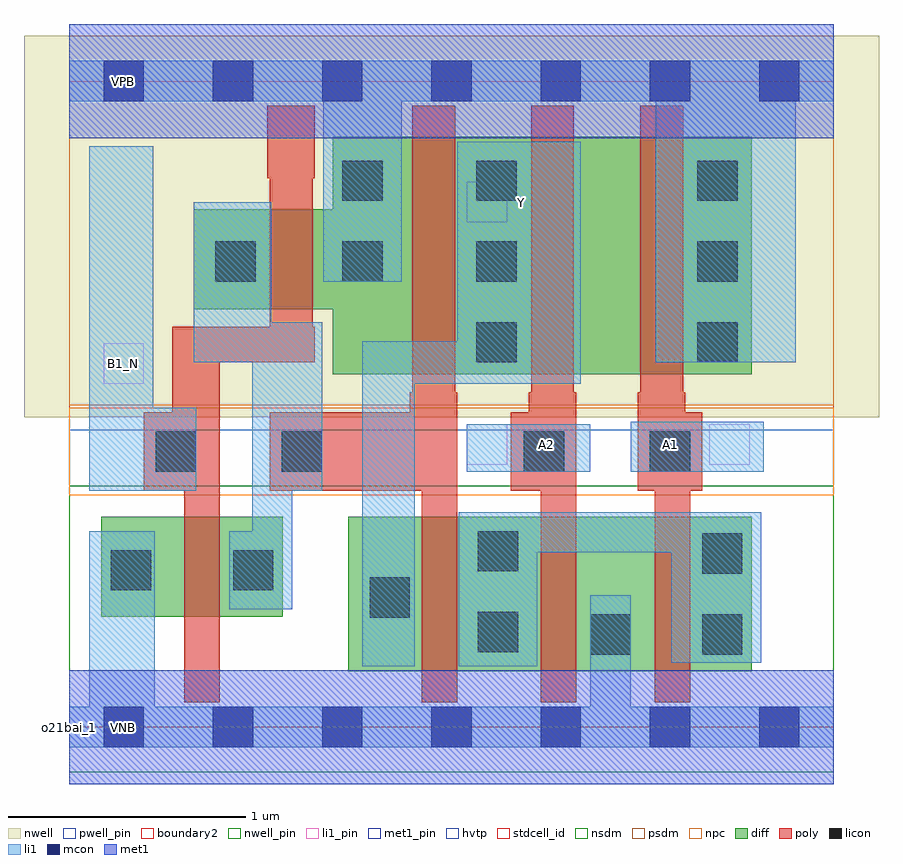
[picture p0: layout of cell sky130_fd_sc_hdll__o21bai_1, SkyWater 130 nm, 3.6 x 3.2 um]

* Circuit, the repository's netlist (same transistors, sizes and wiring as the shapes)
* Copyright 2020 The SkyWater PDK Authors
*
* Licensed under the Apache License, Version 2.0 (the "License");
* you may not use this file except in compliance with the License.
* You may obtain a copy of the License at
*
*     https://www.apache.org/licenses/LICENSE-2.0
*
* Unless required by applicable law or agreed to in writing, software
* distributed under the License is distributed on an "AS IS" BASIS,
* WITHOUT WARRANTIES OR CONDITIONS OF ANY KIND, either express or implied.
* See the License for the specific language governing permissions and
* limitations under the License.
*
* SPDX-License-Identifier: Apache-2.0

.SUBCKT sky130_fd_sc_hdll__o21bai_1 A1 A2 B1_N VGND VNB VPB VPWR Y
*.PININFO A1:I A2:I B1_N:I VGND:I VNB:I VPB:I VPWR:I Y:O
MMPA0 VPWR A1 sndA1 VPB sky130_fd_pr__pfet_01v8_hvt m=1 w=1.0U l=0.18U mult=1 sa=0.265
+ sb=0.265 sd=0.28 area=0.063 perim=1.14
MMPA1 sndA1 A2 Y VPB sky130_fd_pr__pfet_01v8_hvt m=1 w=1.0U l=0.18U mult=1 sa=0.265
+ sb=0.265 sd=0.28 area=0.063 perim=1.14
MMPB0 VPWR B1 Y VPB sky130_fd_pr__pfet_01v8_hvt m=1 w=1.0U l=0.18U mult=1 sa=0.265
+ sb=0.265 sd=0.28 area=0.063 perim=1.14
MMIPB1N B1 B1_N VPWR VPB sky130_fd_pr__pfet_01v8_hvt m=1 w=0.42U l=0.18U mult=1
+ sa=0.265 sb=0.265 sd=0.28 area=0.063 perim=1.14
MMNA0 pndA A1 VGND VNB sky130_fd_pr__nfet_01v8 m=1 w=0.65U l=0.15U mult=1 sa=0.265
+ sb=0.265 sd=0.28 area=0.063 perim=1.14
MMNA1 pndA A2 VGND VNB sky130_fd_pr__nfet_01v8 m=1 w=0.65U l=0.15U mult=1 sa=0.265
+ sb=0.265 sd=0.28 area=0.063 perim=1.14
MMNB0 Y B1 pndA VNB sky130_fd_pr__nfet_01v8 m=1 w=0.65U l=0.15U mult=1 sa=0.265
+ sb=0.265 sd=0.28 area=0.063 perim=1.14
MMINB1N B1 B1_N VGND VNB sky130_fd_pr__nfet_01v8 m=1 w=0.42U l=0.15U mult=1 sa=0.265
+ sb=0.265 sd=0.28 area=0.063 perim=1.14
.ENDS sky130_fd_sc_hdll__o21bai_1

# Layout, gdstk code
import gdstk
lib = gdstk.Library(unit=1e-6, precision=1e-09)
def R(c, l, rs):  # rectangles x0, y0, x1, y1
    for r in rs: c.add(gdstk.rectangle(r[:2], r[2:], *l))
def A(c, l, x, y, w, h, nx, ny, dx, dy):  # array of equal rectangles
    R(c, l, [(x+i*dx, y+j*dy, x+i*dx+w, y+j*dy+h) for i in range(nx) for j in range(ny)])
def P(c, l, *ps):  # polygons
    for p in ps: c.add(gdstk.Polygon(p, *l))
nwell_pin = (64, 16)
nwell = (64, 20)
diff = (65, 20)
poly = (66, 20)
licon = (66, 44)
li1_pin = (67, 16)
li1 = (67, 20)
mcon = (67, 44)
met1_pin = (68, 16)
met1 = (68, 20)
hvtp = (78, 44)
stdcell_id = (81, 4)
nsdm = (93, 44)
psdm = (94, 20)
npc = (95, 20)
pwell_pin = (122, 16)
boundary2 = (236, 0)

sky130_fd_sc_hdll__o21ba = lib.new_cell('sky130_fd_sc_hdll__o21bai_1')
R(sky130_fd_sc_hdll__o21ba, nwell_pin, [(0.145,2.635,0.315,2.805)])
R(sky130_fd_sc_hdll__o21ba, nwell, [(-0.19,1.305,3.41,2.91)])
R(sky130_fd_sc_hdll__o21ba, diff, [(1.175,0.235,2.875,0.885), (0.135,0.465,0.9,0.885)])
P(sky130_fd_sc_hdll__o21ba, diff, [(2.875,2.485),(1.11,2.485),(1.11,2.18),(0.525,2.18),(0.525,1.76),(1.11,1.76),(1.11,1.485),(2.875,1.485)])
P(sky130_fd_sc_hdll__o21ba, poly, [(1.035,2.615),(0.835,2.615),(0.835,2.31),(0.845,2.31),(0.845,1.685),(0.435,1.685),(0.435,1.325),(0.315,1.325),(0.315,0.995),(0.485,0.995),(0.485,0.105),(0.635,0.105),(0.635,1.535),(1.035,1.535),(1.035,1.685),(1.025,1.685),(1.025,2.31),(1.035,2.31)],
  [(1.635,1.41),(1.625,1.41),(1.625,2.615),(1.445,2.615),(1.445,1.41),(1.435,1.41),(1.435,1.325),(0.845,1.325),(0.845,0.995),(1.485,0.995),(1.485,0.105),(1.635,0.105)],
  [(2.135,1.41),(2.125,1.41),(2.125,2.615),(1.945,2.615),(1.945,1.41),(1.935,1.41),(1.935,1.325),(1.86,1.325),(1.86,0.995),(1.985,0.995),(1.985,0.105),(2.135,0.105)],
  [(2.665,1.325),(2.595,1.325),(2.595,1.41),(2.585,1.41),(2.585,2.615),(2.405,2.615),(2.405,1.41),(2.395,1.41),(2.395,0.995),(2.465,0.995),(2.465,0.105),(2.615,0.105),(2.615,0.995),(2.665,0.995)])
A(sky130_fd_sc_hdll__o21ba, licon, 1.715, 1.535, 0.17, 0.17, 1, 3, 0, 0.34)
A(sky130_fd_sc_hdll__o21ba, licon, 2.645, 1.535, 0.17, 0.17, 1, 3, 0, 0.34)
R(sky130_fd_sc_hdll__o21ba, licon, [(2.195,0.305,2.365,0.475), (2.665,0.305,2.835,0.475), (1.72,0.315,1.89,0.485), (1.265,0.46,1.435,0.63), (0.175,0.575,0.345,0.745), (0.69,0.575,0.86,0.745), (2.665,0.645,2.835,0.815), (1.72,0.655,1.89,0.825), (0.365,1.075,0.535,1.245), (0.895,1.075,1.065,1.245), (1.915,1.075,2.085,1.245), (2.445,1.075,2.615,1.245), (0.615,1.875,0.785,2.045), (1.15,1.875,1.32,2.045), (1.15,2.215,1.32,2.385)])
R(sky130_fd_sc_hdll__o21ba, li1_pin, [(1.675,1.105,1.845,1.275), (2.695,1.105,2.865,1.275), (0.145,1.445,0.315,1.615), (1.675,2.125,1.845,2.295)])
R(sky130_fd_sc_hdll__o21ba, li1, [(1.675,1.075,2.195,1.275), (2.365,1.075,2.925,1.285)])
P(sky130_fd_sc_hdll__o21ba, li1, [(3.22,0.085),(2.365,0.085),(2.365,0.555),(2.195,0.555),(2.195,0.085),(0.36,0.085),(0.36,0.825),(0.085,0.825),(0.085,0.085),(0,0.085),(0,-0.085),(3.22,-0.085)],
  [(3.22,2.805),(0,2.805),(0,2.635),(1.07,2.635),(1.07,1.875),(1.4,1.875),(1.4,2.635),(2.47,2.635),(2.47,1.535),(3.06,1.535),(3.06,2.635),(3.22,2.635)],
  [(2.915,0.905),(1.64,0.905),(1.64,0.255),(1.97,0.255),(1.97,0.735),(2.535,0.735),(2.535,0.27),(2.915,0.27)],
  [(2.155,2.465),(1.635,2.465),(1.635,1.625),(1.235,1.625),(1.235,0.255),(1.455,0.255),(1.455,1.445),(2.155,1.445)],
  [(1.065,1.705),(0.85,1.705),(0.85,2.21),(0.525,2.21),(0.525,1.535),(0.77,1.535),(0.77,0.825),(0.675,0.825),(0.675,0.495),(0.94,0.495),(0.94,0.995),(1.065,0.995)],
  [(0.535,1.345),(0.355,1.345),(0.355,2.445),(0.085,2.445),(0.085,0.995),(0.535,0.995)])
A(sky130_fd_sc_hdll__o21ba, mcon, 0.145, -0.085, 0.17, 0.17, 7, 2, 0.46, 2.72)
R(sky130_fd_sc_hdll__o21ba, met1_pin, [(0.145,-0.085,0.315,0.085), (0.145,2.635,0.315,2.805)])
R(sky130_fd_sc_hdll__o21ba, met1, [(0,-0.24,3.22,0.24), (0,2.48,3.22,2.96)])
R(sky130_fd_sc_hdll__o21ba, hvtp, [(0,1.25,3.22,2.72)])
R(sky130_fd_sc_hdll__o21ba, stdcell_id, [(0,0,3.22,2.72)])
R(sky130_fd_sc_hdll__o21ba, nsdm, [(0,-0.19,3.22,1.015)])
R(sky130_fd_sc_hdll__o21ba, psdm, [(0,1.355,3.22,2.91)])
R(sky130_fd_sc_hdll__o21ba, npc, [(0,0.975,3.22,1.345)])
R(sky130_fd_sc_hdll__o21ba, pwell_pin, [(0.145,-0.085,0.315,0.085)])
R(sky130_fd_sc_hdll__o21ba, boundary2, [(0,0,3.22,2.72)])
sky130_fd_sc_hdll__o21ba.add(gdstk.Label('A1', (2.53,1.19), layer=67, texttype=5))
sky130_fd_sc_hdll__o21ba.add(gdstk.Label('Y', (1.905,2.21), layer=67, texttype=5))
sky130_fd_sc_hdll__o21ba.add(gdstk.Label('B1_N', (0.23,1.53), layer=67, texttype=5))
sky130_fd_sc_hdll__o21ba.add(gdstk.Label('A2', (2.01,1.19), layer=67, texttype=5))
sky130_fd_sc_hdll__o21ba.add(gdstk.Label('VPB', (0.23,2.72), layer=64, texttype=5))
sky130_fd_sc_hdll__o21ba.add(gdstk.Label('VNB', (0.23,0), layer=64, texttype=59))
sky130_fd_sc_hdll__o21ba.add(gdstk.Label('VPWR', (0.23,2.72), layer=68, texttype=5))
sky130_fd_sc_hdll__o21ba.add(gdstk.Label('VGND', (0.23,0), layer=68, texttype=5))
sky130_fd_sc_hdll__o21ba.add(gdstk.Label('o21bai_1', (0,0), layer=83, texttype=44))

lib.write_gds('sky130_fd_sc_hdll__o21bai_1.gds')
